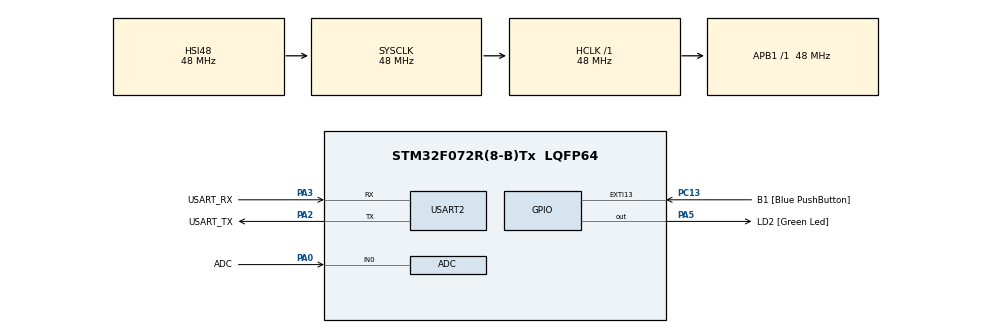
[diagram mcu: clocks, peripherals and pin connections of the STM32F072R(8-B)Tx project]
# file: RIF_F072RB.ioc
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Dma.ADC.0.Direction=DMA_PERIPH_TO_MEMORY
Dma.ADC.0.Instance=DMA1_Channel1
Dma.ADC.0.MemDataAlignment=DMA_MDATAALIGN_WORD
Dma.ADC.0.MemInc=DMA_MINC_ENABLE
Dma.ADC.0.Mode=DMA_CIRCULAR
Dma.ADC.0.PeriphDataAlignment=DMA_PDATAALIGN_HALFWORD
Dma.ADC.0.PeriphInc=DMA_PINC_DISABLE
Dma.ADC.0.Priority=DMA_PRIORITY_LOW
Dma.Request0=ADC
Mcu.Family=STM32F0
Mcu.Name=STM32F072R(8-B)Tx
Mcu.Package=LQFP64
NVIC.DMA1_Channel1_IRQn=true\:0\:0\:false\:false\:true\:false\:true\:true
NVIC.TIM1_BRK_UP_TRG_COM_IRQn=true\:0\:0\:false\:false\:true\:true\:true\:true
NVIC.TIM2_IRQn=true\:0\:0\:false\:false\:true\:true\:true\:true
PA0.GPIO_Label=ADC
PA0.Mode=IN0
PA0.Signal=ADC_IN0
PA13.GPIO_Label=TMS
PA13.Mode=Serial_Wire
PA13.Signal=SYS_SWDIO
PA14.GPIO_Label=TCK
PA14.Mode=Serial_Wire
PA14.Signal=SYS_SWCLK
PA2.GPIO_Label=USART_TX
PA2.GPIO_Mode=GPIO_MODE_AF_PP
PA2.GPIO_PuPd=GPIO_NOPULL
PA2.GPIO_Speed=GPIO_SPEED_FREQ_LOW
PA2.Mode=Asynchronous
PA2.Signal=USART2_TX
PA3.GPIO_Label=USART_RX
PA3.GPIO_Mode=GPIO_MODE_AF_PP
PA3.GPIO_PuPd=GPIO_NOPULL
PA3.GPIO_Speed=GPIO_SPEED_FREQ_LOW
PA3.Mode=Asynchronous
PA3.Signal=USART2_RX
PA5.GPIO_Label=LD2 [Green Led]
PA5.GPIO_Mode=GPIO_MODE_OUTPUT_PP
PA5.GPIO_PuPd=GPIO_NOPULL
PA5.GPIO_Speed=GPIO_SPEED_FREQ_LOW
PA5.Signal=GPIO_Output
PC13.GPIO_Label=B1 [Blue PushButton]
PC13.GPIO_ModeDefaultEXTI=GPIO_MODE_IT_FALLING
PC13.Signal=GPXTI13
PC14-OSC32_IN.Mode=LSE-External-Oscillator
PC14-OSC32_IN.Signal=RCC_OSC32_IN
PC15-OSC32_OUT.Mode=LSE-External-Oscillator
PC15-OSC32_OUT.Signal=RCC_OSC32_OUT
PF0-OSC_IN.Mode=HSE-External-Clock-Source
PF0-OSC_IN.Signal=RCC_OSC_IN
PF1-OSC_OUT.Signal=RCC_OSC_OUT
ProjectManager.HeapSize=0x200
ProjectManager.StackSize=0x400
ProjectManager.TargetToolchain=STM32CubeIDE
RCC.AHBFreq_Value=48000000
RCC.APB1Freq_Value=48000000
RCC.APB1TimFreq_Value=48000000
RCC.FLatency-AdvancedSettings=FLASH_LATENCY_1
RCC.HCLKFreq_Value=48000000
RCC.PLLDivider=RCC_PREDIV_DIV2
RCC.PLLMUL=RCC_PLL_MUL12
RCC.PREFETCH_ENABLE-AdvancedSettings=1
RCC.SYSCLKFreq_VALUE=48000000
RCC.SYSCLKSource=RCC_SYSCLKSOURCE_HSI48
TIM1.Period=1000-1
TIM1.Prescaler=24-1
TIM2.Period=1000
TIM2.Prescaler=48-1
USART2.VirtualMode=VM_ASYNC
USART2.VirtualMode-Asynchronous=VM_ASYNC
VP_TIM1_VS_ClockSourceINT.Mode=Internal
VP_TIM2_VS_ClockSourceINT.Mode=Internal
board=NUCLEO-F072RB

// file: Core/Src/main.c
/* USER CODE BEGIN Header */
/**
  ******************************************************************************
  * @file           : main.c
  * @brief          : Main program body
  ******************************************************************************
  * @attention
  *
  * Copyright (c) 2022 STMicroelectronics.
  * All rights reserved.
  *
  * This software is licensed under terms that can be found in the LICENSE file
  * in the root directory of this software component.
  * If no LICENSE file comes with this software, it is provided AS-IS.
  *
  ******************************************************************************
  */
/* USER CODE END Header */
#include "main.h"

/* USER CODE BEGIN Includes */
#include "math.h"
#include <stdio.h>
#include <string.h>
/* USER CODE END Includes */

ADC_HandleTypeDef hadc;
DMA_HandleTypeDef hdma_adc;

TIM_HandleTypeDef htim1;
TIM_HandleTypeDef htim2;

UART_HandleTypeDef huart2;

/* USER CODE BEGIN PV */
uint8_t flag_tim_1=0;
uint8_t flag_tim_2=0;
/* USER CODE END PV */

void SystemClock_Config(void);
static void MX_GPIO_Init(void);
static void MX_DMA_Init(void);
static void MX_USART2_UART_Init(void);
static void MX_ADC_Init(void);
static void MX_TIM1_Init(void);
static void MX_TIM2_Init(void);

int main(void)
{

  /* MCU Configuration--------------------------------------------------------*/

  /* Reset of all peripherals, Initializes the Flash interface and the Systick. */
  HAL_Init();

  /* Configure the system clock */
  SystemClock_Config();

  /* Initialize all configured peripherals */
  MX_GPIO_Init();
  MX_DMA_Init();
  MX_USART2_UART_Init();
  MX_ADC_Init();
  MX_TIM1_Init();
  MX_TIM2_Init();
  /* USER CODE BEGIN 2 */
  double re = 1;
  double img = sin(acos(re))*1000;
  uint32_t buffer=0;
  HAL_ADC_Start_DMA(&hadc, &buffer, 1);
  HAL_TIM_Base_Start_IT(&htim1);
  /* USER CODE END 2 */

  /* Infinite loop */
  /* USER CODE BEGIN WHILE */
  while (1)
  {
	  int out=0;
	  if(flag_tim_1==1){
		  static double z_1=0;
		  static double z =0;
		  z_1=z;
		  z=(double)buffer;
		  out=(z + z_1*(img-re))*100;
		  flag_tim_1=0;
	  }
	  if(flag_tim_2==1){
		  	  char msg[10];
		  	  uint16_t size = snprintf(msg, 10, "%d\r\n",out);
		  	  HAL_UART_Transmit(&huart2,(uint8_t*)msg,size,HAL_MAX_DELAY);
	  		  flag_tim_2=0;
	  	  }
    /* USER CODE END WHILE */

  }
}

void SystemClock_Config(void)
{
  RCC_OscInitTypeDef RCC_OscInitStruct = {0};
  RCC_ClkInitTypeDef RCC_ClkInitStruct = {0};
  RCC_PeriphCLKInitTypeDef PeriphClkInit = {0};

  /** Initializes the RCC Oscillators according to the specified parameters
  * in the RCC_OscInitTypeDef structure.
  */
  RCC_OscInitStruct.OscillatorType = RCC_OSCILLATORTYPE_HSI14|RCC_OSCILLATORTYPE_HSI48;
  RCC_OscInitStruct.HSI48State = RCC_HSI48_ON;
  RCC_OscInitStruct.HSI14State = RCC_HSI14_ON;
  RCC_OscInitStruct.HSI14CalibrationValue = 16;
  RCC_OscInitStruct.PLL.PLLState = RCC_PLL_NONE;
  if (HAL_RCC_OscConfig(&RCC_OscInitStruct) != HAL_OK)
  {
    Error_Handler();
  }

  /** Initializes the CPU, AHB and APB buses clocks
  */
  RCC_ClkInitStruct.ClockType = RCC_CLOCKTYPE_HCLK|RCC_CLOCKTYPE_SYSCLK
                              |RCC_CLOCKTYPE_PCLK1;
  RCC_ClkInitStruct.SYSCLKSource = RCC_SYSCLKSOURCE_HSI48;
  RCC_ClkInitStruct.AHBCLKDivider = RCC_SYSCLK_DIV1;
  RCC_ClkInitStruct.APB1CLKDivider = RCC_HCLK_DIV1;

  if (HAL_RCC_ClockConfig(&RCC_ClkInitStruct, FLASH_LATENCY_1) != HAL_OK)
  {
    Error_Handler();
  }
  PeriphClkInit.PeriphClockSelection = RCC_PERIPHCLK_USART2;
  PeriphClkInit.Usart2ClockSelection = RCC_USART2CLKSOURCE_PCLK1;
  if (HAL_RCCEx_PeriphCLKConfig(&PeriphClkInit) != HAL_OK)
  {
    Error_Handler();
  }
}

static void MX_ADC_Init(void)
{

  ADC_ChannelConfTypeDef sConfig = {0};

  /** Configure the global features of the ADC (Clock, Resolution, Data Alignment and number of conversion)
  */
  hadc.Instance = ADC1;
  hadc.Init.ClockPrescaler = ADC_CLOCK_ASYNC_DIV1;
  hadc.Init.Resolution = ADC_RESOLUTION_12B;
  hadc.Init.DataAlign = ADC_DATAALIGN_RIGHT;
  hadc.Init.ScanConvMode = ADC_SCAN_DIRECTION_FORWARD;
  hadc.Init.EOCSelection = ADC_EOC_SINGLE_CONV;
  hadc.Init.LowPowerAutoWait = DISABLE;
  hadc.Init.LowPowerAutoPowerOff = DISABLE;
  hadc.Init.ContinuousConvMode = DISABLE;
  hadc.Init.DiscontinuousConvMode = DISABLE;
  hadc.Init.ExternalTrigConv = ADC_SOFTWARE_START;
  hadc.Init.ExternalTrigConvEdge = ADC_EXTERNALTRIGCONVEDGE_NONE;
  hadc.Init.DMAContinuousRequests = DISABLE;
  hadc.Init.Overrun = ADC_OVR_DATA_PRESERVED;
  if (HAL_ADC_Init(&hadc) != HAL_OK)
  {
    Error_Handler();
  }

  /** Configure for the selected ADC regular channel to be converted.
  */
  sConfig.Channel = ADC_CHANNEL_0;
  sConfig.Rank = ADC_RANK_CHANNEL_NUMBER;
  sConfig.SamplingTime = ADC_SAMPLETIME_1CYCLE_5;
  if (HAL_ADC_ConfigChannel(&hadc, &sConfig) != HAL_OK)
  {
    Error_Handler();
  }

}

static void MX_TIM1_Init(void)
{

  TIM_ClockConfigTypeDef sClockSourceConfig = {0};
  TIM_MasterConfigTypeDef sMasterConfig = {0};

  htim1.Instance = TIM1;
  htim1.Init.Prescaler = 24-1;
  htim1.Init.CounterMode = TIM_COUNTERMODE_UP;
  htim1.Init.Period = 1000-1;
  htim1.Init.ClockDivision = TIM_CLOCKDIVISION_DIV1;
  htim1.Init.RepetitionCounter = 0;
  htim1.Init.AutoReloadPreload = TIM_AUTORELOAD_PRELOAD_DISABLE;
  if (HAL_TIM_Base_Init(&htim1) != HAL_OK)
  {
    Error_Handler();
  }
  sClockSourceConfig.ClockSource = TIM_CLOCKSOURCE_INTERNAL;
  if (HAL_TIM_ConfigClockSource(&htim1, &sClockSourceConfig) != HAL_OK)
  {
    Error_Handler();
  }
  sMasterConfig.MasterOutputTrigger = TIM_TRGO_RESET;
  sMasterConfig.MasterSlaveMode = TIM_MASTERSLAVEMODE_DISABLE;
  if (HAL_TIMEx_MasterConfigSynchronization(&htim1, &sMasterConfig) != HAL_OK)
  {
    Error_Handler();
  }

}

static void MX_TIM2_Init(void)
{

  TIM_ClockConfigTypeDef sClockSourceConfig = {0};
  TIM_MasterConfigTypeDef sMasterConfig = {0};

  htim2.Instance = TIM2;
  htim2.Init.Prescaler = 48-1;
  htim2.Init.CounterMode = TIM_COUNTERMODE_UP;
  htim2.Init.Period = 1000;
  htim2.Init.ClockDivision = TIM_CLOCKDIVISION_DIV1;
  htim2.Init.AutoReloadPreload = TIM_AUTORELOAD_PRELOAD_DISABLE;
  if (HAL_TIM_Base_Init(&htim2) != HAL_OK)
  {
    Error_Handler();
  }
  sClockSourceConfig.ClockSource = TIM_CLOCKSOURCE_INTERNAL;
  if (HAL_TIM_ConfigClockSource(&htim2, &sClockSourceConfig) != HAL_OK)
  {
    Error_Handler();
  }
  sMasterConfig.MasterOutputTrigger = TIM_TRGO_RESET;
  sMasterConfig.MasterSlaveMode = TIM_MASTERSLAVEMODE_DISABLE;
  if (HAL_TIMEx_MasterConfigSynchronization(&htim2, &sMasterConfig) != HAL_OK)
  {
    Error_Handler();
  }

}

static void MX_USART2_UART_Init(void)
{

  huart2.Instance = USART2;
  huart2.Init.BaudRate = 38400;
  huart2.Init.WordLength = UART_WORDLENGTH_8B;
  huart2.Init.StopBits = UART_STOPBITS_1;
  huart2.Init.Parity = UART_PARITY_NONE;
  huart2.Init.Mode = UART_MODE_TX_RX;
  huart2.Init.HwFlowCtl = UART_HWCONTROL_NONE;
  huart2.Init.OverSampling = UART_OVERSAMPLING_16;
  huart2.Init.OneBitSampling = UART_ONE_BIT_SAMPLE_DISABLE;
  huart2.AdvancedInit.AdvFeatureInit = UART_ADVFEATURE_NO_INIT;
  if (HAL_UART_Init(&huart2) != HAL_OK)
  {
    Error_Handler();
  }

}

static void MX_DMA_Init(void)
{

  /* DMA controller clock enable */
  __HAL_RCC_DMA1_CLK_ENABLE();

  /* DMA interrupt init */
  /* DMA1_Channel1_IRQn interrupt configuration */
  HAL_NVIC_SetPriority(DMA1_Channel1_IRQn, 0, 0);
  HAL_NVIC_EnableIRQ(DMA1_Channel1_IRQn);

}

static void MX_GPIO_Init(void)
{
  GPIO_InitTypeDef GPIO_InitStruct = {0};

  /* GPIO Ports Clock Enable */
  __HAL_RCC_GPIOC_CLK_ENABLE();
  __HAL_RCC_GPIOF_CLK_ENABLE();
  __HAL_RCC_GPIOA_CLK_ENABLE();

  /*Configure GPIO pin Output Level */
  HAL_GPIO_WritePin(GPIOA, GPIO_PIN_5, GPIO_PIN_RESET);

  /*Configure GPIO pin : PC13 */
  GPIO_InitStruct.Pin = GPIO_PIN_13;
  GPIO_InitStruct.Mode = GPIO_MODE_IT_FALLING;
  GPIO_InitStruct.Pull = GPIO_NOPULL;
  HAL_GPIO_Init(GPIOC, &GPIO_InitStruct);

  /*Configure GPIO pin : PA5 */
  GPIO_InitStruct.Pin = GPIO_PIN_5;
  GPIO_InitStruct.Mode = GPIO_MODE_OUTPUT_PP;
  GPIO_InitStruct.Pull = GPIO_NOPULL;
  GPIO_InitStruct.Speed = GPIO_SPEED_FREQ_LOW;
  HAL_GPIO_Init(GPIOA, &GPIO_InitStruct);

}

void Error_Handler(void)
{
  __disable_irq();
  while (1)
  {
  }
}
